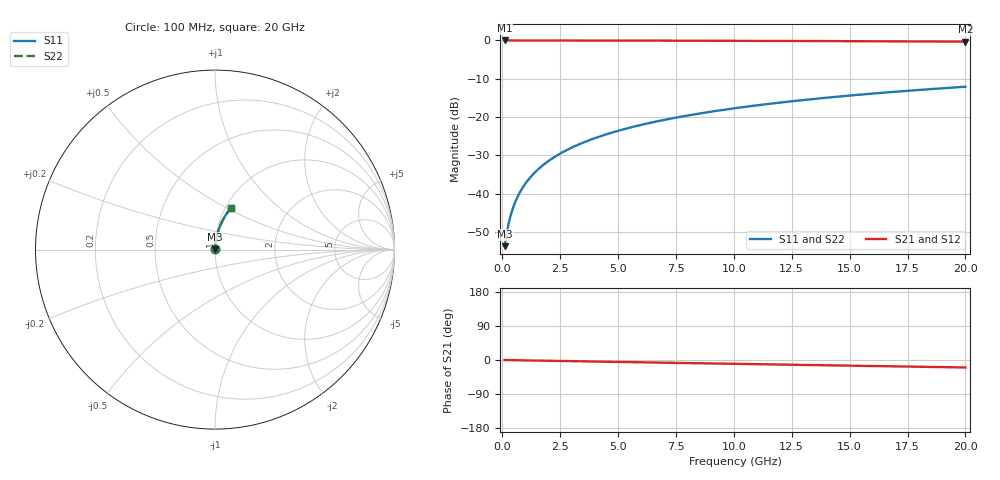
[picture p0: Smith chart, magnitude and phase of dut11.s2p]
! Touchstone file exported from HFSS 2026.1.0
!  File:  C:/ffzhzh/LocalFiles/Ansys_Project_Files/temp_train_TMRDL_11_1782879969_39988.aedt
!  Generated:  12:28:55 PM Jul  1, 2026
!  Design:  TMRDL
!  Project:  temp_train_TMRDL_11_1782879969_39988
! Variables:
!  h_bsmrdl = 2um
!  h_ox = 20um
!  h_rdl = 5um
!  h_sub = 80um
!  h_tmrdl = 3.55um
!  h_tsv = 80um
!  h_via = 3um
!  l_bsmrdl = 300um
!  l_sub = 600.5um
!  l_tmrdl = 200.5um
!  m_sub = 200um
!  pitch = 56.19um
!  r_tsv = 6um
!  s_tmrdl = 10um
!  w_bsmrdl = 18um
!  w_sub = 500um
!  w_tmrdl = 14.82um
!  x_tsv_center1 = 207.91um
!  x_tsv_center2 = 525.91um
!  x_tsv_center3 = 741.23um
!  x_tsv_center4 = 1059.23um
!  x_tsv_center5 = 1274.55um
!  x_tsv_center6 = 1592.55um
# GHz S MA R 50.000000
! Terminal data exported
! Port[1] = TM_RDL1_1_T1
! Port[2] = TM_RDL1_1_T2
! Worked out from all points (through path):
!   200 points, 100 MHz to 20 GHz, reference 50 ohm
!   highest |S21| = -0.01 dB at 100 MHz (marker M1); lowest = -0.3 dB at 20 GHz (marker M2)
!   group delay of S21, straight-line fit = 2.74 ps
!   lowest |S11| = -53.8 dB at 100 MHz (marker M3), VSWR 1.00, Z = 50.2 + j0.138 ohm
!   |S11| at or under -10 dB: start of sweep to end of sweep
!   |S22| runs from -53.8 to -12.1 dB; largest |S21 - S12| = 3.9e-15
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0.1  0.002053 42.2  0.9985 -0.1  0.9985 -0.1  0.002053 42.2
! Gamma 0 0 0 0
! Port Impedance 50 0 50 0
0.2  0.003158 60.5  0.9984 -0.2  0.9984 -0.2  0.003158 60.5
0.3  0.004405 68.6  0.9984 -0.3  0.9984 -0.3  0.004405 68.6
0.4  0.005689 73.0  0.9984 -0.4  0.9984 -0.4  0.005689 73.0
0.5  0.006985 75.8  0.9983 -0.5  0.9983 -0.5  0.006985 75.8
0.6  0.008285 77.6  0.9983 -0.6  0.9983 -0.6  0.008285 77.6
0.8  0.01089 80.0  0.9982 -0.8  0.9982 -0.8  0.01089 80.0
1.1  0.01482 81.9  0.9981 -1.1  0.9981 -1.1  0.01482 81.9
1.5  0.02008 83.2  0.998 -1.5  0.998 -1.5  0.02008 83.2
1.8  0.02403 83.7  0.9978 -1.9  0.9978 -1.9  0.02403 83.7
2.1  0.02798 83.9  0.9977 -2.2  0.9977 -2.2  0.02798 83.9
2.7  0.03588 84.0  0.9973 -2.8  0.9973 -2.8  0.03588 84.0
3.5  0.04638 83.7  0.9968 -3.6  0.9968 -3.6  0.04638 83.7
4.2  0.05553 83.3  0.9961 -4.3  0.9961 -4.3  0.05553 83.3
5  0.06594 82.7  0.9953 -5.1  0.9953 -5.1  0.06594 82.7
5.9  0.07758 82.0  0.9943 -6.0  0.9943 -6.0  0.07758 82.0
6.8  0.08914 81.2  0.9931 -6.9  0.9931 -6.9  0.08914 81.2
8.3  0.1082 79.8  0.9908 -8.4  0.9908 -8.4  0.1082 79.8
10.1  0.1308 78.2  0.9877 -10.2  0.9877 -10.2  0.1308 78.2
13.4  0.1713 75.1  0.9808 -13.4  0.9808 -13.4  0.1712 75.1
16.7  0.2104 72.1  0.9727 -16.6  0.9727 -16.6  0.2104 72.1
20  0.2482 69.0  0.9633 -19.7  0.9633 -19.7  0.2482 69.0
